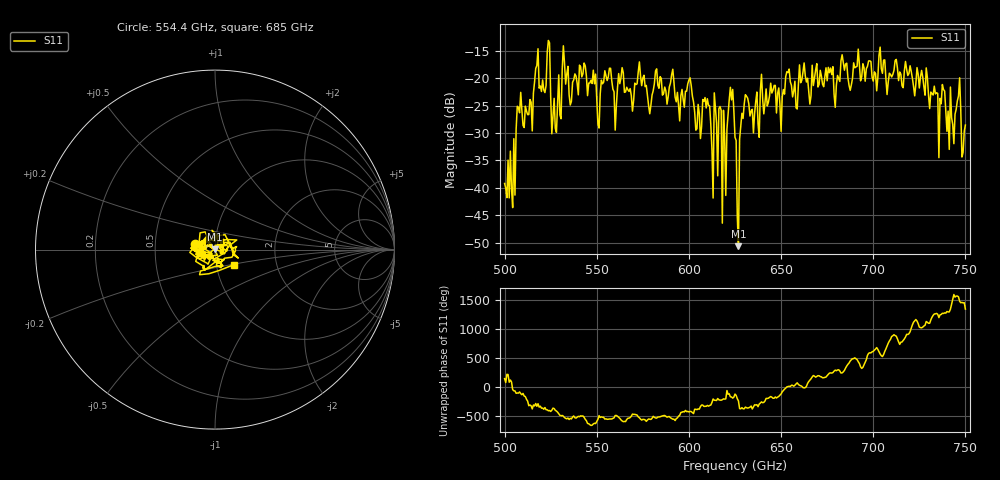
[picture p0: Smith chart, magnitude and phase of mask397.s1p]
!Created with skrf (http://scikit-rf.org).
# GHz S MA R 50.0
!freq magS11 angS11
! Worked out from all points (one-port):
!   401 points, 500 GHz to 750 GHz, reference 50 ohm
!   lowest |S11| = -50.7 dB at 626.9 GHz (marker M1), VSWR 1.01, Z = 49.9 + j0.265 ohm
!   |S11| at or under -10 dB: start of sweep to end of sweep
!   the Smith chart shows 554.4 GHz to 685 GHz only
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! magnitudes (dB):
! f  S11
! 500 GHz  -39.2
! 505 GHz  -31.0
! 507.5 GHz  -25.4
! 513.8 GHz  -23.9
! 516.9 GHz  -18.2
! 523.8 GHz  -13.1
! 526.9 GHz  -23.7
! 531.2 GHz  -18.4
! 542.5 GHz  -19.2
! 551.2 GHz  -29.1
! 562.5 GHz  -21.0
! 578.8 GHz  -26.5
! 590.6 GHz  -19.3
! 593.8 GHz  -22.6
! 610 GHz  -23.7
! 611.9 GHz  -28.5
! 616.2 GHz  -25.6
! 619.4 GHz  -30.7
! 623.1 GHz  -23.9
! 625 GHz  -30.8
! 626.9 GHz  -50.7
! 631.2 GHz  -23.3
! 656.2 GHz  -23.4
! 687.5 GHz  -22.2
! 718.8 GHz  -19.5
! 742.5 GHz  -27.2
! 746.2 GHz  -23.2
! 750 GHz  -28.5
